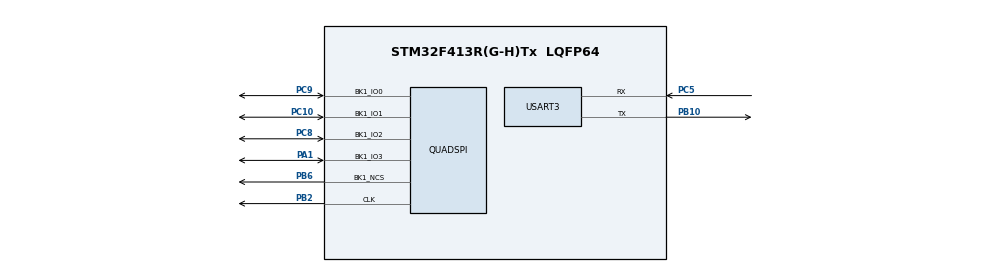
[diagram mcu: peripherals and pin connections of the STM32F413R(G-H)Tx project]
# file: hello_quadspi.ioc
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Mcu.Family=STM32F4
Mcu.Name=STM32F413R(G-H)Tx
Mcu.Package=LQFP64
NVIC.PriorityGroup=NVIC_PRIORITYGROUP_4
PA1.Mode=Single Bank 1
PA1.Signal=QUADSPI_BK1_IO3
PA13.Mode=Serial_Wire
PA13.Signal=SYS_JTMS-SWDIO
PA14.Mode=Serial_Wire
PA14.Signal=SYS_JTCK-SWCLK
PB10.Mode=Asynchronous
PB10.Signal=USART3_TX
PB2.Mode=Single Bank 1
PB2.Signal=QUADSPI_CLK
PB6.Mode=Single Bank 1
PB6.Signal=QUADSPI_BK1_NCS
PC10.Mode=Single Bank 1
PC10.Signal=QUADSPI_BK1_IO1
PC5.Mode=Asynchronous
PC5.Signal=USART3_RX
PC8.Mode=Single Bank 1
PC8.Signal=QUADSPI_BK1_IO2
PC9.Mode=Single Bank 1
PC9.Signal=QUADSPI_BK1_IO0
ProjectManager.HeapSize=0x200
ProjectManager.StackSize=0x400
ProjectManager.TargetToolchain=TrueSTUDIO
QUADSPI.ClockMode=QSPI_CLOCK_MODE_3
QUADSPI.FifoThreshold=4
QUADSPI.FlashSize=23
RCC.CortexFreq_Value=16000000
RCC.USBFreq_Value=96000000
RCC.VCOOutputFreq_Value=192000000
USART3.VirtualMode=VM_ASYNC
board=custom

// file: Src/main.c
/* USER CODE BEGIN Header */
/**
  ******************************************************************************
  * @file           : main.c
  * @brief          : Main program body
  ******************************************************************************
  * @attention
  *
  * <h2><center>&copy; Copyright (c) 2020 STMicroelectronics.
  * All rights reserved.</center></h2>
  *
  * This software component is licensed by ST under BSD 3-Clause license,
  * the "License"; You may not use this file except in compliance with the
  * License. You may obtain a copy of the License at:
  *                        opensource.org/licenses/BSD-3-Clause
  *
  ******************************************************************************
  */
/* USER CODE END Header */

#include "main.h"
#include "quadspi.h"
#include "usart.h"
#include "gpio.h"

/* USER CODE BEGIN Includes */
#include "Winbond_25Q.h"

#include "DBG.h"
/* USER CODE END Includes */

void SystemClock_Config(void);

/* USER CODE BEGIN 0 */

static uint32_t read_ops = 0;
static uint32_t program_ops = 0;
static uint32_t erase_ops = 0;

#define TEST_LITTLEFS

#if defined TEST_LITTLEFS
#include "lfs.h"

// variables used by the filesystem
lfs_t lfs;
lfs_file_t file;

// Read a region in a block
int user_provided_block_device_read(const struct lfs_config *c, lfs_block_t block,
        lfs_off_t off, void *buffer, lfs_size_t size);

// Program a region in a block
// The block must be previously been erased
int user_provided_block_device_prog(const struct lfs_config *c, lfs_block_t block,
        lfs_off_t off, const void *buffer, lfs_size_t size);

// Erase a block
int user_provided_block_device_erase(const struct lfs_config *c, lfs_block_t block);

// Sync the state of the of the underlying block device
int user_provided_block_device_sync(const struct lfs_config *c);

typedef struct {
	uint8_t maj_version;
} user_ctx;

user_ctx my_ctx = {
	.maj_version = 0,
};

#define USER_CACHE_SIZE	4096
#define USER_BLOCK_SIZE 4096

// Note, memory must be 64-bit aligned
uint8_t my_read_buffer[USER_CACHE_SIZE] = {0};
uint8_t my_prog_buffer[USER_CACHE_SIZE] = {0};
uint8_t my_lookahead_buffer[USER_CACHE_SIZE] = {0};

// configuration of the filesystem is provided by this struct
const struct lfs_config cfg = {
    // block device operations
    .read  = user_provided_block_device_read,
    .prog  = user_provided_block_device_prog,
    .erase = user_provided_block_device_erase,
    .sync  = user_provided_block_device_sync,

    /* Block device configuration */

	/* Minimum size of a block read */
    .read_size = 16,
	/* Minimum size of a block program */
    .prog_size = 16,
	/* Size of an erasable block, must be a multiple of the
	 * read and program sizes */
    .block_size = USER_BLOCK_SIZE,
	// Number of erasable blocks on the device
    .block_count = 128,
	// Size of block caches.
	// Each cache buffers a portion of a block in RAM
    // The littlefs needs a read cache, a program cache, and one additional
    // cache per file. Larger caches can improve performance by storing more
    // data and reducing the number of disk accesses. Must be a multiple of
    // the read and program sizes, and a factor of the block size.
    .cache_size = 16,
    // Size of the lookahead buffer in bytes. A larger lookahead buffer
    // increases the number of blocks found during an allocation pass. The
    // lookahead buffer is stored as a compact bitmap, so each byte of RAM
    // can track 8 blocks. Must be a multiple of 8.
    .lookahead_size = 16,
    // Number of erase cycles before littlefs evicts metadata logs and moves
    // the metadata to another block. Suggested values are in the
    // range 100-1000, with large values having better performance at the cost
    // of less consistent wear distribution.
    //
    // Set to -1 to disable block-level wear-leveling.
    .block_cycles = 500,
    // Optional statically allocated read buffer. Must be cache_size.
    // By default lfs_malloc is used to allocate this buffer.
    .read_buffer = my_read_buffer,

    // Optional statically allocated program buffer. Must be cache_size.
    // By default lfs_malloc is used to allocate this buffer.
    .prog_buffer = my_prog_buffer,

    // Optional statically allocated lookahead buffer. Must be lookahead_size
    // and aligned to a 32-bit boundary. By default lfs_malloc is used to
    // allocate this buffer.
    .lookahead_buffer = my_lookahead_buffer,

	// context
	.context = &my_ctx
};

// Read a region in a block
int user_provided_block_device_read(const struct lfs_config *c, lfs_block_t block,
        lfs_off_t off, void *buffer, lfs_size_t size)
{
	read_ops++;

	uint32_t read_address = block * c->block_size;
	uint32_t read_address_off = read_address + off;
	DBG_println("[READ] Block: %d, addr: %d, size: %d", (int) block, read_address_off, size);

	spi_read_data(read_address_off, buffer, size);

	return LFS_ERR_OK;
}

// Program a region in a block
// The block must be previously been erased
int user_provided_block_device_prog(const struct lfs_config *c, lfs_block_t block,
        lfs_off_t off, const void *buffer, lfs_size_t size)
{
	program_ops++;

	uint32_t prog_address = block * c->block_size;
	uint32_t prog_address_off = prog_address + off;

	DBG_println("[PROG] Block: %d, Address: %d, offset: %d, size: %d", block, prog_address, off, size);

	// Write Enable instruction before the device will accept any
	// Sector erase Intruction
	DBG_println("Enabling Writing...");
	spi_write_enable();
	HAL_Delay(10);
	spi_read_status_1();

	uint32_t spi_ret = spi_page_program(prog_address_off, (uint8_t *) buffer, size);

	DBG_println("BUSY...");
	while (spi_read_status_1() & STATUS_REGISTER_1_BUSY) {
		HAL_Delay(10);
	}
	DBG_println("No longer BUSY...");

	int ret = spi_ret == HAL_OK ? LFS_ERR_OK : LFS_ERR_CORRUPT;

	DBG_println("Operation result: %d", ret);

	return ret;
}

// Erase a block
// No veo alguna forma de optimizar esta funcion
int user_provided_block_device_erase(const struct lfs_config *c, lfs_block_t block)
{
	erase_ops++;

	// Convertimos de numero de bloque a direccion del bloque que littlefs quiere borrar
	uint32_t sector_address = block * c->block_size;

	DBG_println("[ERASE] Block: %d, addr = %d", (int) block, sector_address);

	// Write Enable instruction before the device will accept any
	// Sector erase Intruction
	DBG_println("Enabling writing...");
	spi_write_enable();
	HAL_Delay(10);
	spi_read_status_1();

	spi_erase_sector(sector_address);

	// After the /CS line going high, the self.timed Sector Erase instruction
	// will commence for a time duration of tSE (). While the Sector Erase
	// cycle is in progress, the Read Status Register instruction may still
	// be accessed for checking the status of the BUSY bit.
	// The BUSY bit is a 1 during the Sector Erase cycle and becomes a 0
	// when the cycle is finished and the device is ready to accept other
	// instructions again.
	// After the Sector Erase cycle has finished the WE bit in Status Register
	// is cleared to 0.
	//
	// tSE
	// For W25Q128FVxxIG 100ms
	// For W25Q128FVxxIQ or W25Q128FVxxIF 45ms

	// We have the W25Q128FVxxIQ so we poll the BUSY bit every 10ms
	while (spi_read_status_1() & STATUS_REGISTER_1_BUSY) {
		HAL_Delay(10);
	}

	return LFS_ERR_OK;
}

// Sync the state of the of the underlying block device
// See: https://github.com/ARMmbed/littlefs/issues/382
//
// Note the sync function is only needed if your NAND device has a cache
// that needs to be flushed to insure the data is stored in persistent storage.
// Otherwise sync can be a noop and return 0.
int user_provided_block_device_sync(const struct lfs_config *c)
{
	(void) c;

	// #382
	return LFS_ERR_OK;
}
#endif

/* USER CODE END 0 */

int main(void)
{

  /* MCU Configuration--------------------------------------------------------*/

  /* Reset of all peripherals, Initializes the Flash interface and the Systick. */
  HAL_Init();

  /* Configure the system clock */
  SystemClock_Config();

  /* Initialize all configured peripherals */
  MX_GPIO_Init();
  MX_QUADSPI_Init();
  MX_USART3_UART_Init();
  /* USER CODE BEGIN 2 */

  DBG_init(&huart3);
  DBG_clear_screen();
  DBG_println("QUADSPI Test - W25Q128FV");

#if 0

  spi_get_jedec_id();
  spi_read_status_1();
  spi_read_status_2();
  spi_read_status_3();

  DBG_println("Enabling write...");
  spi_write_enable();
  spi_read_status_1();
  DBG_println("Disabling write...");
  spi_write_disable();
  spi_read_status_1();

  uint8_t out_data[256] = {0};
  spi_read_data(0, out_data, sizeof out_data);
  DBG_hexdump(out_data, sizeof out_data, 0);

  DBG_println("Enabling write...");
  spi_write_enable();
  spi_read_status_1();

  uint8_t in_data[] = {
		  0x00, 0x01, 0x02, 0x03, 0x04, 0x05, 0x06, 0x07,
		  0x08, 0x09, 0x0A, 0x0B, 0x0C, 0x0D, 0x0E, 0x0F
  };

  spi_page_program(0, in_data, sizeof in_data);

  spi_read_data(0, out_data, sizeof out_data);
  DBG_hexdump(out_data, sizeof out_data, 0);

  HAL_Delay(1000);

  spi_read_status_1();

  /* This write enable is necessary because the WEL bit
   * on the Status register 1 is set to 0 after the
   * page program instruction */
  spi_write_enable();
  spi_read_status_1();
  DBG_println("Erasing sector 0");
  spi_read_status_1();
  spi_erase_sector(0);
  spi_read_status_1();

  HAL_Delay(1000);

  spi_read_status_1();
  spi_write_enable();

  spi_read_data(0, out_data, sizeof out_data);
  DBG_hexdump(out_data, sizeof out_data, 0);

  DBG_println("Entering QPI mode...");
  DBG_println("Setting QE bit on Status register 2...");
  const uint8_t QE_BIT_POS = 1;
  uint8_t status2 = spi_read_status_2();
  DBG_println("Status register2 : %02Xh", status2);
  status2 |= (1 << QE_BIT_POS);
  DBG_println("Status register2 : %02Xh", status2);
  spi_write_status_2(status2);
  status2 = spi_read_status_2();
  DBG_println("Status register2 : %02Xh", status2);

  DBG_println("Sending ENTER_QPI_MODE instruction...");
  spi_enter_qpi_mode();

  DBG_println("Reading JEDEC ID...");
  qpi_read_jedec_id();

  DBG_println("Exiting QPI mode...");
  qpi_exit_qpi_mode();
#endif

#if defined TEST_LITTLEFS

#if 0
  DBG_println("Erasing chip...");
  spi_write_enable();
  spi_erase_chip();
  while (spi_read_status_1() & STATUS_REGISTER_1_BUSY) {
	  HAL_Delay(500);
  }
  DBG_println("Chip erased");
  spi_read_status_1();
#endif

  HAL_Delay(1000);

  // Mount the fs
  DBG_println("Mounting the FS...");
  int err = lfs_mount(&lfs, &cfg);

  // reformat if we can't mount the fs
  // this should be only happen on the first boot

  if (err) {
	  DBG_println("Error at mount: %d", err);
	  lfs_format(&lfs, &cfg);
	  err = lfs_mount(&lfs, &cfg);
	  DBG_println("Error at second mount: %d", err);
  }

#if 0
  // Static memory allocations, doesn't use the same api as the dinamic memory allocation
  // This is taken from #304
  const uint8_t *uploadFileName = "staticfile";
  lfs_file_t uploadFile;
  struct lfs_file_config uploadFileConfig;
  memset(&uploadFileConfig, 0, sizeof(struct lfs_file_config));

  // Optional statically allocated file buffer. Must be cache_size.
  uint8_t lfs_read_file_buffer[16];

  uploadFileConfig.buffer = lfs_read_file_buffer;  // use the static buffer

  // File attributes
  uploadFileConfig.attrs = NULL;
  // Number of custom attributes in the list
  uploadFileConfig.attr_count = 0;

  int res = lfs_file_opencfg(&lfs, &uploadFile, (char*) uploadFileName, LFS_O_RDONLY, &uploadFileConfig);
#endif

  // Read current count
  DBG_println("Opening file boot_count...");

  uint8_t boot_count = 0;
  err = lfs_file_open(&lfs, &file, "boot_count", LFS_O_RDWR | LFS_O_CREAT);
  if (err < 0) {
	  DBG_println("Error at opening the file: %d", err);
  }

  err = lfs_file_read(&lfs, &file, &boot_count, sizeof boot_count);
  if (err < 0) {
	  DBG_println("Error at reading the file: %d", err);
  } else {
	  DBG_println("Bytes read: %d", err);
	  DBG_println("Boot count: %d", boot_count);
  }

  // More file operations
  // lfs_file_truncate

  // Returns the position of the file
  lfs_soff_t file_pos = lfs_file_tell(&lfs, &file);
  if (file_pos < 0) {
	  DBG_println("Error while trying to get file position: %d", file_pos);
  } else {
	  DBG_println("Current file position: %d", file_pos);
  }

  // Update boot_count
  boot_count += 1;
  DBG_println("Boot count: %d", boot_count);
  err = lfs_file_rewind(&lfs, &file);
  if (err < 0) {
	  DBG_println("Error at rewinding the file: %d", err);
  } else {
	  DBG_println("Rewind ok");
  }

  file_pos = lfs_file_tell(&lfs, &file);
  if (file_pos < 0) {
	  DBG_println("Error while trying to get file position: %d", file_pos);
  } else {
	  DBG_println("Current file position: %d", file_pos);
  }

  err = lfs_file_write(&lfs, &file, &boot_count, sizeof boot_count);
  if (err < 0) {
	  DBG_println("Error at writing the file: %d", err);
  } else {
	  DBG_println("Bytes written into the file: %d", err);
  }

  lfs_soff_t file_size = lfs_file_size(&lfs, &file);
  if (file_size < 0) {
	  DBG_println("Error while trying to get size of file: %d", file_size);
  } else {
	  DBG_println("File size: %d", file_size);
  }

  // Remember the storage is not updated until the file is closed
  // successfully
  err = lfs_file_close(&lfs, &file);
  DBG_println("Closing file: %d", err);

  DBG_println("Boot count: %d", boot_count);

#if 0
  /* Directory operations */
  int dir_res = lfs_mkdir(&lfs, "test");
  if (dir_res < 0) {
	  DBG_println("Error while trying to create directory: %d", dir_res);
	  while (1);
  }

  lfs_dir_t test_dir;
  dir_res = lfs_dir_open(&lfs, &test_dir, "test");
  if (dir_res < 0) {
	  DBG_println("Error while trying to open directory: %d", dir_res);
	  while (1);
  }

  dir_res = lfs_dir_close(&lfs, &test_dir);
  if (dir_res < 0) {
	  DBG_println("Error while trying to open directory: %d", dir_res);
	  while (1);
  }
#endif

  // Release any resources we were using
  lfs_unmount(&lfs);

#endif

  DBG_println("Total read operations: %d", read_ops);
  DBG_println("Total program operations: %d", program_ops);
  DBG_println("Total erase operations: %d", erase_ops);

  asm("NOP");

  /* USER CODE END 2 */

  /* Infinite loop */
  while (1)
  {

  }
}

void SystemClock_Config(void)
{
  RCC_OscInitTypeDef RCC_OscInitStruct = {0};
  RCC_ClkInitTypeDef RCC_ClkInitStruct = {0};

  /** Configure the main internal regulator output voltage
  */
  __HAL_RCC_PWR_CLK_ENABLE();
  __HAL_PWR_VOLTAGESCALING_CONFIG(PWR_REGULATOR_VOLTAGE_SCALE1);
  /** Initializes the CPU, AHB and APB busses clocks
  */
  RCC_OscInitStruct.OscillatorType = RCC_OSCILLATORTYPE_HSI;
  RCC_OscInitStruct.HSIState = RCC_HSI_ON;
  RCC_OscInitStruct.HSICalibrationValue = RCC_HSICALIBRATION_DEFAULT;
  RCC_OscInitStruct.PLL.PLLState = RCC_PLL_NONE;
  if (HAL_RCC_OscConfig(&RCC_OscInitStruct) != HAL_OK)
  {
    Error_Handler();
  }
  /** Initializes the CPU, AHB and APB busses clocks
  */
  RCC_ClkInitStruct.ClockType = RCC_CLOCKTYPE_HCLK|RCC_CLOCKTYPE_SYSCLK
                              |RCC_CLOCKTYPE_PCLK1|RCC_CLOCKTYPE_PCLK2;
  RCC_ClkInitStruct.SYSCLKSource = RCC_SYSCLKSOURCE_HSI;
  RCC_ClkInitStruct.AHBCLKDivider = RCC_SYSCLK_DIV1;
  RCC_ClkInitStruct.APB1CLKDivider = RCC_HCLK_DIV1;
  RCC_ClkInitStruct.APB2CLKDivider = RCC_HCLK_DIV1;

  if (HAL_RCC_ClockConfig(&RCC_ClkInitStruct, FLASH_LATENCY_0) != HAL_OK)
  {
    Error_Handler();
  }
}

void Error_Handler(void)
{
}

/************************ (C) COPYRIGHT STMicroelectronics *****END OF FILE****/
